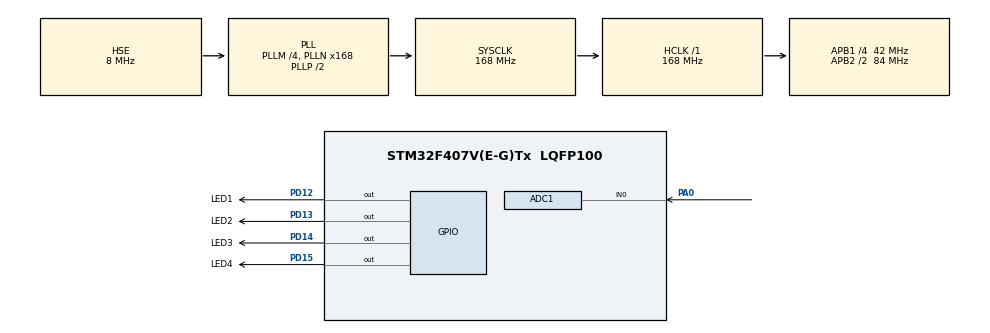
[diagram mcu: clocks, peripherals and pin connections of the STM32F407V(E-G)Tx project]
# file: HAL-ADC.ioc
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ADC1.Channel-0\#ChannelRegularConversion=ADC_CHANNEL_0
ADC1.ContinuousConvMode=ENABLE
ADC1.NbrOfConversion=1
ADC1.NbrOfConversionFlag=1
ADC1.Rank-0\#ChannelRegularConversion=1
ADC1.SamplingTime-0\#ChannelRegularConversion=ADC_SAMPLETIME_3CYCLES
ADC1.master=1
Mcu.Family=STM32F4
Mcu.Name=STM32F407V(E-G)Tx
Mcu.Package=LQFP100
NVIC.PriorityGroup=NVIC_PRIORITYGROUP_4
PA0-WKUP.Signal=ADCx_IN0
PD12.GPIO_Label=LED1
PD12.GPIO_Speed=GPIO_SPEED_FREQ_VERY_HIGH
PD12.Signal=GPIO_Output
PD13.GPIO_Label=LED2
PD13.GPIO_Speed=GPIO_SPEED_FREQ_VERY_HIGH
PD13.Signal=GPIO_Output
PD14.GPIO_Label=LED3
PD14.GPIO_Speed=GPIO_SPEED_FREQ_VERY_HIGH
PD14.Signal=GPIO_Output
PD15.GPIO_Label=LED4
PD15.GPIO_Speed=GPIO_SPEED_FREQ_VERY_HIGH
PD15.Signal=GPIO_Output
PH0-OSC_IN.Mode=HSE-External-Oscillator
PH0-OSC_IN.Signal=RCC_OSC_IN
PH1-OSC_OUT.Mode=HSE-External-Oscillator
PH1-OSC_OUT.Signal=RCC_OSC_OUT
ProjectManager.HeapSize=0x200
ProjectManager.StackSize=0x400
ProjectManager.TargetToolchain=STM32CubeIDE
RCC.48MHZClocksFreq_Value=84000000
RCC.AHBFreq_Value=168000000
RCC.APB1CLKDivider=RCC_HCLK_DIV4
RCC.APB1Freq_Value=42000000
RCC.APB1TimFreq_Value=84000000
RCC.APB2CLKDivider=RCC_HCLK_DIV2
RCC.APB2Freq_Value=84000000
RCC.APB2TimFreq_Value=168000000
RCC.CortexFreq_Value=168000000
RCC.HCLKFreq_Value=168000000
RCC.HSE_VALUE=8000000
RCC.HSI_VALUE=16000000
RCC.LSE_VALUE=32768
RCC.PLLM=4
RCC.PLLN=168
RCC.PLLSourceVirtual=RCC_PLLSOURCE_HSE
RCC.SYSCLKFreq_VALUE=168000000
RCC.SYSCLKSource=RCC_SYSCLKSOURCE_PLLCLK
RCC.VCOOutputFreq_Value=336000000
SH.ADCx_IN0.0=ADC1_IN0,IN0
board=custom

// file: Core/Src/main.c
/* USER CODE BEGIN Header */
/**
  ******************************************************************************
  * @file           : main.c
  * @brief          : Main program body
  ******************************************************************************
  * @attention
  *
  * Copyright (c) 2024 STMicroelectronics.
  * All rights reserved.
  *
  * This software is licensed under terms that can be found in the LICENSE file
  * in the root directory of this software component.
  * If no LICENSE file comes with this software, it is provided AS-IS.
  *
  ******************************************************************************
  */
/* USER CODE END Header */
#include "main.h"

ADC_HandleTypeDef hadc1;

/* USER CODE BEGIN PV */

uint16_t adc_value;
float Vadc ;// Vadc = VCC * adc_value /4095;

/* USER CODE END PV */

void SystemClock_Config(void);
static void MX_GPIO_Init(void);
static void MX_ADC1_Init(void);

/* USER CODE BEGIN 0 */

void UpdateADCValue()
{
	HAL_ADC_Start(&hadc1); // starts ADC
	int timeout =1234; // duration for waiting process to be completed
	if(HAL_ADC_PollForConversion(&hadc1, timeout) ==HAL_OK) //wait for the ADC conversion process to complete
	{
		adc_value  = HAL_ADC_GetValue(&hadc1);

	}
	HAL_ADC_Stop(&hadc1); // stops ADC
}

/* USER CODE END 0 */

int main(void)
{

  /* MCU Configuration--------------------------------------------------------*/

  /* Reset of all peripherals, Initializes the Flash interface and the Systick. */
  HAL_Init();

  /* Configure the system clock */
  SystemClock_Config();

  /* Initialize all configured peripherals */
  MX_GPIO_Init();
  MX_ADC1_Init();

  /* Infinite loop */
  /* USER CODE BEGIN WHILE */
  while (1)
  {
	  UpdateADCValue();
	  Vadc = 2.95* adc_value /4095; // current voltage
	  //max adc value equals 4095 because of 12 bit resolution
	  // 2^12 =4096
	  //This resolution setting is in Pinout->Analog->ADC1-> ParameterSettings ->ADC_Settings->Resolution : 12bits (15ADC Clock cycles)

	  if(adc_value> 4095*4/5 )
	  {
		  HAL_GPIO_WritePin(LED1_GPIO_Port, LED1_Pin,GPIO_PIN_SET );
		  HAL_GPIO_WritePin(LED2_GPIO_Port, LED2_Pin|LED3_Pin|LED4_Pin,GPIO_PIN_RESET );
	  }
	  else if(adc_value> 4095*3/5 )
	  {
		  HAL_GPIO_WritePin(LED1_GPIO_Port, LED2_Pin,GPIO_PIN_SET );
		  HAL_GPIO_WritePin(LED2_GPIO_Port, LED1_Pin|LED3_Pin|LED4_Pin,GPIO_PIN_RESET );
	  }
	  else if(adc_value>4095*2/5 )
	  {
		  HAL_GPIO_WritePin(LED1_GPIO_Port, LED3_Pin,GPIO_PIN_SET );
		  HAL_GPIO_WritePin(LED2_GPIO_Port, LED2_Pin|LED1_Pin|LED4_Pin,GPIO_PIN_RESET );	  		  HAL_GPIO_WritePin(LED2_GPIO_Port, LED2_Pin|LED3_Pin|LED4_Pin,GPIO_PIN_RESET );
	  }
	  else if(adc_value>4095*1/5  )
	  {
		  HAL_GPIO_WritePin(LED1_GPIO_Port, LED4_Pin,GPIO_PIN_SET );
		  HAL_GPIO_WritePin(LED2_GPIO_Port, LED2_Pin|LED3_Pin|LED1_Pin,GPIO_PIN_RESET );
	  }
	  else
	  {

		  HAL_GPIO_WritePin(LED2_GPIO_Port, LED1_Pin|LED2_Pin|LED3_Pin|LED4_Pin,GPIO_PIN_RESET );
	  }

    /* USER CODE END WHILE */

  }
}

void SystemClock_Config(void)
{
  RCC_OscInitTypeDef RCC_OscInitStruct = {0};
  RCC_ClkInitTypeDef RCC_ClkInitStruct = {0};

  /** Configure the main internal regulator output voltage
  */
  __HAL_RCC_PWR_CLK_ENABLE();
  __HAL_PWR_VOLTAGESCALING_CONFIG(PWR_REGULATOR_VOLTAGE_SCALE1);

  /** Initializes the RCC Oscillators according to the specified parameters
  * in the RCC_OscInitTypeDef structure.
  */
  RCC_OscInitStruct.OscillatorType = RCC_OSCILLATORTYPE_HSE;
  RCC_OscInitStruct.HSEState = RCC_HSE_ON;
  RCC_OscInitStruct.PLL.PLLState = RCC_PLL_ON;
  RCC_OscInitStruct.PLL.PLLSource = RCC_PLLSOURCE_HSE;
  RCC_OscInitStruct.PLL.PLLM = 4;
  RCC_OscInitStruct.PLL.PLLN = 168;
  RCC_OscInitStruct.PLL.PLLP = RCC_PLLP_DIV2;
  RCC_OscInitStruct.PLL.PLLQ = 4;
  if (HAL_RCC_OscConfig(&RCC_OscInitStruct) != HAL_OK)
  {
    Error_Handler();
  }

  /** Initializes the CPU, AHB and APB buses clocks
  */
  RCC_ClkInitStruct.ClockType = RCC_CLOCKTYPE_HCLK|RCC_CLOCKTYPE_SYSCLK
                              |RCC_CLOCKTYPE_PCLK1|RCC_CLOCKTYPE_PCLK2;
  RCC_ClkInitStruct.SYSCLKSource = RCC_SYSCLKSOURCE_PLLCLK;
  RCC_ClkInitStruct.AHBCLKDivider = RCC_SYSCLK_DIV1;
  RCC_ClkInitStruct.APB1CLKDivider = RCC_HCLK_DIV4;
  RCC_ClkInitStruct.APB2CLKDivider = RCC_HCLK_DIV2;

  if (HAL_RCC_ClockConfig(&RCC_ClkInitStruct, FLASH_LATENCY_5) != HAL_OK)
  {
    Error_Handler();
  }
}

static void MX_ADC1_Init(void)
{

  ADC_ChannelConfTypeDef sConfig = {0};

  /** Configure the global features of the ADC (Clock, Resolution, Data Alignment and number of conversion)
  */
  hadc1.Instance = ADC1;
  hadc1.Init.ClockPrescaler = ADC_CLOCK_SYNC_PCLK_DIV4;
  hadc1.Init.Resolution = ADC_RESOLUTION_12B;
  hadc1.Init.ScanConvMode = DISABLE;
  hadc1.Init.ContinuousConvMode = ENABLE;
  hadc1.Init.DiscontinuousConvMode = DISABLE;
  hadc1.Init.ExternalTrigConvEdge = ADC_EXTERNALTRIGCONVEDGE_NONE;
  hadc1.Init.ExternalTrigConv = ADC_SOFTWARE_START;
  hadc1.Init.DataAlign = ADC_DATAALIGN_RIGHT;
  hadc1.Init.NbrOfConversion = 1;
  hadc1.Init.DMAContinuousRequests = DISABLE;
  hadc1.Init.EOCSelection = ADC_EOC_SINGLE_CONV;
  if (HAL_ADC_Init(&hadc1) != HAL_OK)
  {
    Error_Handler();
  }

  /** Configure for the selected ADC regular channel its corresponding rank in the sequencer and its sample time.
  */
  sConfig.Channel = ADC_CHANNEL_0;
  sConfig.Rank = 1;
  sConfig.SamplingTime = ADC_SAMPLETIME_3CYCLES;
  if (HAL_ADC_ConfigChannel(&hadc1, &sConfig) != HAL_OK)
  {
    Error_Handler();
  }

}

static void MX_GPIO_Init(void)
{
  GPIO_InitTypeDef GPIO_InitStruct = {0};

  /* GPIO Ports Clock Enable */
  __HAL_RCC_GPIOH_CLK_ENABLE();
  __HAL_RCC_GPIOA_CLK_ENABLE();
  __HAL_RCC_GPIOD_CLK_ENABLE();

  /*Configure GPIO pin Output Level */
  HAL_GPIO_WritePin(GPIOD, LED1_Pin|LED2_Pin|LED3_Pin|LED4_Pin, GPIO_PIN_RESET);

  /*Configure GPIO pins : LED1_Pin LED2_Pin LED3_Pin LED4_Pin */
  GPIO_InitStruct.Pin = LED1_Pin|LED2_Pin|LED3_Pin|LED4_Pin;
  GPIO_InitStruct.Mode = GPIO_MODE_OUTPUT_PP;
  GPIO_InitStruct.Pull = GPIO_NOPULL;
  GPIO_InitStruct.Speed = GPIO_SPEED_FREQ_VERY_HIGH;
  HAL_GPIO_Init(GPIOD, &GPIO_InitStruct);

}

void Error_Handler(void)
{
  __disable_irq();
  while (1)
  {
  }
}
